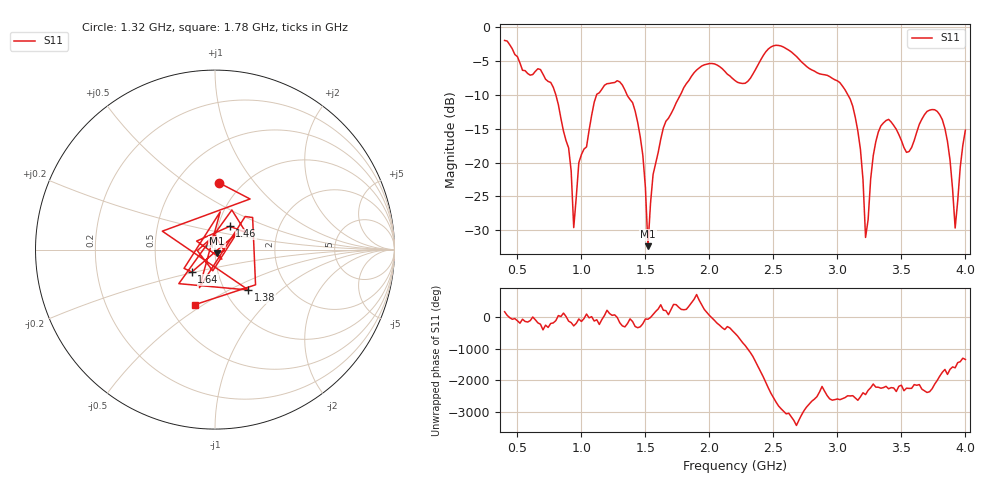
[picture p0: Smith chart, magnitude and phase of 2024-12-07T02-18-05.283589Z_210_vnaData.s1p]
!Created with skrf (http://scikit-rf.org).
# Hz S RI R 50.0
!freq ReS11 ImS11
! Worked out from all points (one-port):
!   181 points, 400 MHz to 4 GHz, reference 50 ohm
!   lowest |S11| = -32.4 dB at 1.52 GHz (marker M1), VSWR 1.05, Z = 51.1 - j2.18 ohm
!   |S11| at or under -10 dB: 800.2 MHz to 1.119 GHz (318.3 MHz wide, 33.2 % of centre); 1.357 GHz to 1.774 GHz (416.9 MHz wide, 26.6 % of centre); 3.082 GHz to end of sweep
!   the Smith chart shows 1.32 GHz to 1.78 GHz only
!   S11 on the Smith chart (normalised r, x): 1.32 GHz: 0.78, +0.68; 1.38 GHz: 1.28, -0.63; 1.46 GHz: 1.14, +0.30; 1.64 GHz: 0.75, -0.19; 1.78 GHz: 0.68, -0.46
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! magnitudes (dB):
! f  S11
! 400 MHz  -2.0
! 760 MHz  -8.2
! 860 MHz  -15.4
! 920 MHz  -21.2
! 940 MHz  -29.6
! 980 MHz  -20.0
! 1.1 GHz  -11.1
! 1.3 GHz  -8.1
! 1.32 GHz  -8.6
! 1.38 GHz  -10.7
! 1.46 GHz  -16.2
! 1.52 GHz  -32.4
! 1.56 GHz  -21.8
! 1.64 GHz  -14.9
! 1.76 GHz  -10.5
! 1.78 GHz  -9.8
! 2.2 GHz  -7.9
! 2.66 GHz  -4.0
! 3.1 GHz  -10.6
! 3.18 GHz  -18.1
! 3.22 GHz  -31.1
! 3.28 GHz  -19.0
! 3.34 GHz  -14.6
! 3.56 GHz  -18.4
! 3.8 GHz  -12.9
! 3.88 GHz  -19.6
! 3.92 GHz  -29.7
! 4 GHz  -15.2
